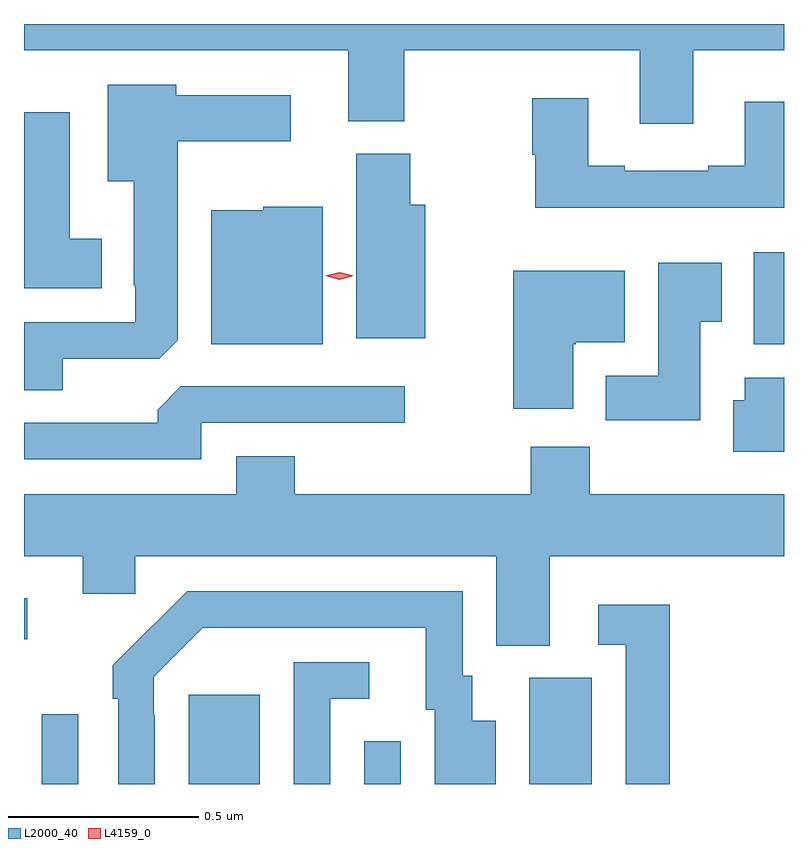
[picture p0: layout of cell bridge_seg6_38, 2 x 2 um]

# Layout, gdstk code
import gdstk
lib = gdstk.Library(unit=1e-6, precision=1e-09)
def R(c, l, rs):  # rectangles x0, y0, x1, y1
    for r in rs: c.add(gdstk.rectangle(r[:2], r[2:], *l))
def P(c, l, *ps):  # polygons
    for p in ps: c.add(gdstk.Polygon(p, *l))
L2000_40 = (2000, 40)
L4159_0 = (4159, 0)

bridge_seg6_38 = lib.new_cell('bridge_seg6_38')
R(bridge_seg6_38, L2000_40, [(1070.949,992.025,1071.045,992.209), (1071.335,992.025,1071.523,992.26), (1071.798,992.025,1071.894,992.137), (1072.232,992.025,1072.396,992.304), (1070.902,992.406,1070.911,992.514), (1072.823,993.182,1072.902,993.424)])
P(bridge_seg6_38, L2000_40, [(1072.663,993.956),(1072.902,993.956),(1072.902,994.025),(1070.902,994.025),(1070.902,993.956),(1071.755,993.956),(1071.755,993.769),(1071.903,993.769),(1071.903,993.956),(1072.523,993.956),(1072.523,993.762),(1072.663,993.762)],
  [(1071.004,993.144),(1071.258,993.144),(1071.307,993.193),(1071.307,993.716),(1071.604,993.716),(1071.604,993.838),(1071.303,993.838),(1071.303,993.865),(1071.122,993.865),(1071.122,993.611),(1071.191,993.611),(1071.191,993.337),(1071.195,993.337),(1071.195,993.24),(1070.902,993.24),(1070.902,993.061),(1071.004,993.061)],
  [(1072.902,993.82),(1072.799,993.82),(1072.799,993.652),(1072.703,993.652),(1072.703,993.639),(1072.483,993.639),(1072.483,993.652),(1072.387,993.652),(1072.387,993.829),(1072.24,993.829),(1072.24,993.681),(1072.247,993.681),(1072.247,993.542),(1072.902,993.542)],
  [(1071.106,993.46),(1071.022,993.46),(1071.022,993.793),(1070.902,993.793),(1070.902,993.329),(1071.106,993.329)],
  [(1071.958,993.55),(1071.918,993.55),(1071.918,993.684),(1071.776,993.684),(1071.776,993.198),(1071.958,993.198)],
  [(1071.688,993.544),(1071.531,993.544),(1071.531,993.535),(1071.395,993.535),(1071.395,993.182),(1071.688,993.182)],
  [(1072.681,993.241),(1072.738,993.241),(1072.738,993.397),(1072.571,993.397),(1072.571,993.1),(1072.433,993.1),(1072.433,992.982),(1072.681,992.982)],
  [(1072.348,993.182),(1072.354,993.182),(1072.354,993.188),(1072.483,993.188),(1072.483,993.376),(1072.19,993.376),(1072.19,993.012),(1072.348,993.012)],
  [(1072.902,993.094),(1072.799,993.094),(1072.799,993.035),(1072.769,993.035),(1072.769,992.9),(1072.902,992.9)],
  [(1071.369,992.976),(1071.904,992.976),(1071.904,993.072),(1071.315,993.072),(1071.254,993.01),(1071.254,992.976),(1070.902,992.976),(1070.902,992.88),(1071.369,992.88)],
  [(1072.285,992.624),(1072.902,992.624),(1072.902,992.788),(1072.391,992.788),(1072.391,992.912),(1072.235,992.912),(1072.235,992.788),(1071.614,992.788),(1071.614,992.887),(1071.461,992.887),(1071.461,992.788),(1070.902,992.788),(1070.902,992.624),(1071.056,992.624),(1071.056,992.526),(1071.195,992.526),(1071.195,992.624),(1072.145,992.624),(1072.145,992.389),(1072.285,992.389)],
  [(1071.246,992.207),(1071.243,992.207),(1071.243,992.307),(1071.372,992.436),(1071.959,992.436),(1071.959,992.22),(1071.983,992.22),(1071.983,992.025),(1072.144,992.025),(1072.144,992.191),(1072.081,992.191),(1072.081,992.31),(1072.056,992.31),(1072.056,992.532),(1071.332,992.532),(1071.241,992.441),(1071.24,992.442),(1071.135,992.337),(1071.135,992.249),(1071.15,992.249),(1071.15,992.025),(1071.246,992.025)],
  [(1072.601,992.497),(1072.413,992.497),(1072.413,992.391),(1072.485,992.391),(1072.485,992.025),(1072.601,992.025)],
  [(1071.708,992.25),(1071.811,992.25),(1071.811,992.346),(1071.612,992.346),(1071.612,992.025),(1071.708,992.025)])
P(bridge_seg6_38, L4159_0, [(1071.733,993.352),(1071.695,993.362),(1071.695,993.362),(1071.695,993.362),(1071.733,993.372),(1071.77,993.362),(1071.77,993.362),(1071.77,993.362)])

lib.write_gds('bridge_seg6_38.gds')
